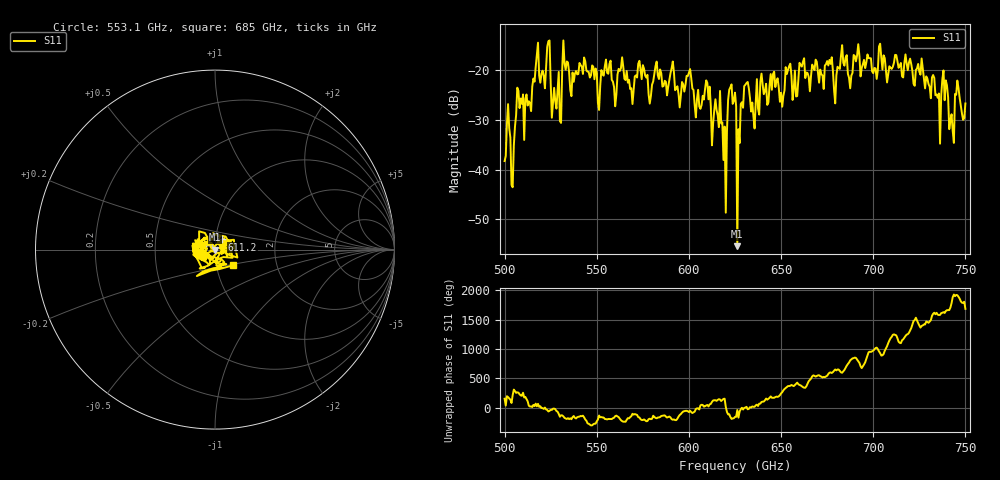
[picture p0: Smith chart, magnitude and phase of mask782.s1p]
!Created with skrf (http://scikit-rf.org).
# GHz S MA R 50.0
!freq magS11 angS11
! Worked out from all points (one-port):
!   401 points, 500 GHz to 750 GHz, reference 50 ohm
!   lowest |S11| = -55.4 dB at 626.2 GHz (marker M1), VSWR 1.00, Z = 50.1 - j0.109 ohm
!   |S11| at or under -10 dB: start of sweep to end of sweep
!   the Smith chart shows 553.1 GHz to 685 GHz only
!   S11 on the Smith chart (normalised r, x): 553.1 GHz: 0.84, -0.04; 611.2 GHz: 1.07, +0.12; 685 GHz: 1.21, -0.21
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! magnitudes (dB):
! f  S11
! 500 GHz  -38.3
! 501.9 GHz  -26.8
! 504.4 GHz  -43.5
! 507.5 GHz  -24.1
! 513.8 GHz  -26.6
! 516.9 GHz  -19.3
! 523.8 GHz  -14.2
! 526.9 GHz  -23.5
! 531.2 GHz  -19.8
! 553.1 GHz  -20.8
! 562.5 GHz  -20.1
! 593.8 GHz  -23.2
! 611.2 GHz  -23.3
! 619.4 GHz  -31.3
! 623.8 GHz  -26.8
! 625 GHz  -24.5
! 626.2 GHz  -55.4
! 631.2 GHz  -22.6
! 635 GHz  -29.3
! 656.2 GHz  -26.0
! 685 GHz  -17.5
! 687.5 GHz  -23.6
! 718.8 GHz  -20.0
! 735 GHz  -25.6
! 738.8 GHz  -26.0
! 742.5 GHz  -28.8
! 745.6 GHz  -22.1
! 750 GHz  -26.7
